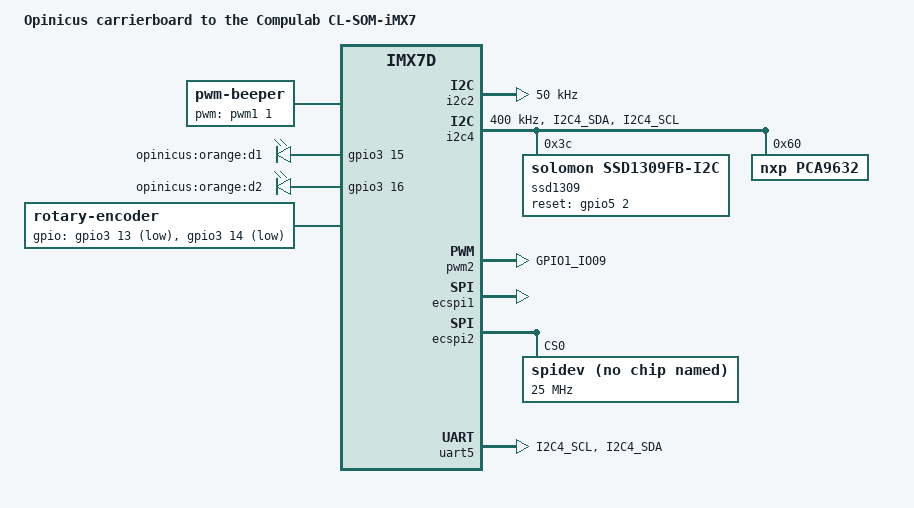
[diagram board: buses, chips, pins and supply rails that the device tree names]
/*
 * Copyright 2017 - Ultimaker B.V.
 * Author Olliver Schinagl <o.schinagl@ultimaker.com>
 *
 * This file is dual-licensed: you can use it either under the terms
 * of the GPL or the X11 license, at your option. Note that this dual
 * licensing only applies to this file, and not this project as a
 * whole.
 *
 *  a) This file is free software; you can redistribute it and/or
 *     modify it under the terms of the GNU General Public License as
 *     published by the Free Software Foundation; either version 2 of the
 *     License, or (at your option) any later version.
 *
 *     This file is distributed in the hope that it will be useful,
 *     but WITHOUT ANY WARRANTY; without even the implied warranty of
 *     MERCHANTABILITY or FITNESS FOR A PARTICULAR PURPOSE.  See the
 *     GNU General Public License for more details.
 *
 * Or, alternatively,
 *
 *  b) Permission is hereby granted, free of charge, to any person
 *     obtaining a copy of this software and associated documentation
 *     files (the "Software"), to deal in the Software without
 *     restriction, including without limitation the rights to use,
 *     copy, modify, merge, publish, distribute, sublicense, and/or
 *     sell copies of the Software, and to permit persons to whom the
 *     Software is furnished to do so, subject to the following
 *     conditions:
 *
 *     The above copyright notice and this permission notice shall be
 *     included in all copies or substantial portions of the Software.
 *
 *     THE SOFTWARE IS PROVIDED "AS IS", WITHOUT WARRANTY OF ANY KIND,
 *     EXPRESS OR IMPLIED, INCLUDING BUT NOT LIMITED TO THE WARRANTIES
 *     OF MERCHANTABILITY, FITNESS FOR A PARTICULAR PURPOSE AND
 *     NONINFRINGEMENT. IN NO EVENT SHALL THE AUTHORS OR COPYRIGHT
 *     HOLDERS BE LIABLE FOR ANY CLAIM, DAMAGES OR OTHER LIABILITY,
 *     WHETHER IN AN ACTION OF CONTRACT, TORT OR OTHERWISE, ARISING
 *     FROM, OUT OF OR IN CONNECTION WITH THE SOFTWARE OR THE USE OR
 *     OTHER DEALINGS IN THE SOFTWARE.
 */

#include <dt-bindings/gpio/gpio.h>
#include <dt-bindings/input/input.h>

#include "imx7d-cl-som-imx7.dts"
#include "imx7d-pinfunc.h"

/ {
	model = "Opinicus carrierboard to the Compulab CL-SOM-iMX7";
	compatible = "ultimaker,opinicus-imx-emmc", "compulab,cl-som-imx7", "fsl,imx7d";

	aliases {
		serial1 = &uart5;
	};

	beeper {
		pwm-names = "opinicus-board-beeper";
		compatible = "pwm-beeper";
		pwms = <&pwm1 1 500000 0>;
		status = "okay";
	};

	leds {
		green {
			linux,default-trigger = "mmc0";
		};

		d1 {
			label = "opinicus:orange:d1";
			gpios = <&gpio3 15 GPIO_ACTIVE_HIGH>;
			default-state = "on";
		};

		d2 {
			label = "opinicus:orange:d2";
			gpios = <&gpio3 16 GPIO_ACTIVE_HIGH>;
			default-state = "on";
		};
	};

	rotary {
		pinctrl-names = "default";
		pinctrl-0 = <&pinctrl_rotary_encoder>;
		compatible = "rotary-encoder";
		gpios = <&gpio3 13 GPIO_ACTIVE_LOW>, <&gpio3 14 GPIO_ACTIVE_LOW>; /* todo; named gpios!! */
		linux,axis = <8>; /* REL_Z: TODO add to dt-include and possible add 'LEFT' axis */
		rotary-encoder,relative-axis;
		rotary-encoder,steps-per-period = <4>;
		status = "okay";
	};
};

&iomuxc {
	pinctrl_i2c4: i2c4grp {
		fsl,pins = <
			MX7D_PAD_I2C4_SDA__I2C4_SDA		0x4000007f
			MX7D_PAD_I2C4_SCL__I2C4_SCL		0x4000007f
		>;
	};

	pinctrl_pwm2: pwm2grp {
		fsl,pins = <
			MX7D_PAD_GPIO1_IO09__PWM2_OUT		0x7d
		>;
	};

	pinctrl_uart5: uart5grp {
		fsl,pins = <
			MX7D_PAD_I2C4_SCL__UART5_DCE_RX		0x7d
			MX7D_PAD_I2C4_SDA__UART5_DCE_TX		0x7d
		>;
	};

	pinctrl_oled_reset: dispgrp {
		fsl,pins = <
			MX7D_PAD_SD1_RESET_B__GPIO5_IO2		0x7d
		>;
	};

	pinctrl_rotary_encoder: encoder0grp {
		fsl,pins = <
			MX7D_PAD_LCD_DATA08__GPIO3_IO13		0x7d
			MX7D_PAD_LCD_DATA09__GPIO3_IO14		0x7d
		>;
	};

	pinctrl_leds: lcd2grp {
		fsl,pins = <
			MX7D_PAD_LCD_DATA10__GPIO3_IO15		0x7d
			MX7D_PAD_LCD_DATA11__GPIO3_IO16		0x7d
		>;
	};
};

&i2c2 {
	pinctrl-names = "default";
	pinctrl-0 = <&pinctrl_i2c2>;
	clock-frequency = <50000>;
	status = "okay";
};

&i2c4 {
	pinctrl-names = "default";
	pinctrl-0 = <&pinctrl_i2c4>;
	clock-frequency = <400000>;
	status = "okay";

	ssd1309: oled@3c {
		compatible = "solomon,ssd1309fb-i2c";
		pinctrl-names = "default";
		pinctrl-0 = <&pinctrl_oled_reset>;
		reg = <0x3c>;
		reset-gpios = <&gpio5 2 GPIO_ACTIVE_HIGH>;
		solomon,width = <128>;
		solomon,height = <64>;
		solomon,com-invdir;
		solomon,page-offset = <0>;
		solomon,prechargep1 = <2>;
		solomon,prechargep2 = <8>;
	};

	pca9632: pca9632@60 {
		compatible = "nxp,pca9632";
		#address-cells = <1>;
		#size-cells = <0>;
		reg = <0x60>;
		nxp,totem-pole;
		nxp,inverted-out;
		nxp,hw-blink;

		red@0 {
			label = "red";
			reg = <0>;
			linux,default-trigger = "none";
		};

		green@1 {
			label = "green";
			reg = <1>;
			linux,default-trigger = "default-on";
		};

		blue@2 {
			label = "blue";
			reg = <2>;
			linux,default-trigger = "default-on";
		};

		unused@3 {
			label = "unused";
			reg = <3>;
			linux,default-trigger = "none";
		};
	};
};

&pwm2 {
	pinctrl-names = "default";
	pinctrl-0 = <&pinctrl_pwm2>;
	status = "okay";
};

&ecspi1 {
	pinctrl-names = "default";
	status = "okay";
};

&ecspi2 {
	pinctrl-names = "default";
	status = "okay";

	spidev@0 {
		compatible = "spidev";
		spi-max-frequency = <25000000>;
		reg = <0>;
	};
};

&uart5 {
	pinctrl-names = "default";
	pinctrl-0 = <&pinctrl_uart5>;
	status = "okay";
};
